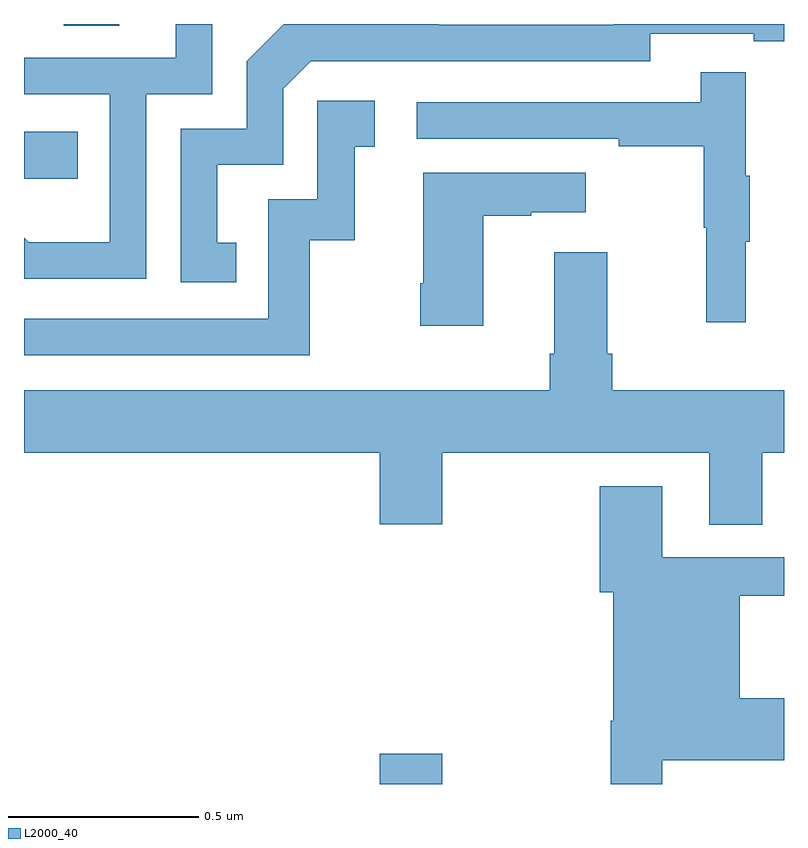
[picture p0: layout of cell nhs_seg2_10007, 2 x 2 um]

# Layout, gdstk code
import gdstk
lib = gdstk.Library(unit=1e-6, precision=1e-09)
def R(c, l, rs):  # rectangles x0, y0, x1, y1
    for r in rs: c.add(gdstk.rectangle(r[:2], r[2:], *l))
def P(c, l, *ps):  # polygons
    for p in ps: c.add(gdstk.Polygon(p, *l))
L2000_40 = (2000, 40)

nhs_seg2_10007 = lib.new_cell('nhs_seg2_10007')
R(nhs_seg2_10007, L2000_40, [(236.936,610.8,237.1,610.879), (236.104,612.796,236.251,612.8)])
P(nhs_seg2_10007, L2000_40, [(236.558,612.225),(236.509,612.225),(236.509,612.429),(236.682,612.429),(236.682,612.63),(236.754,612.702),(237.648,612.702),(237.648,612.774),(237.92,612.774),(237.92,612.754),(238,612.754),(238,612.8),(237.552,612.8),(237.552,612.798),(237.092,612.798),(237.092,612.8),(236.684,612.8),(236.586,612.702),(236.586,612.525),(236.412,612.525),(236.412,612.12),(236.558,612.12)],
  [(236.322,612.615),(236.496,612.615),(236.496,612.8),(236.399,612.8),(236.399,612.711),(236,612.711),(236,612.615),(236.226,612.615),(236.226,612.226),(236.012,612.226),(236,612.238),(236,612.129),(236.322,612.129)],
  [(237.899,612.227),(237.91,612.227),(237.91,612.401),(237.899,612.401),(237.899,612.673),(237.781,612.673),(237.781,612.594),(237.033,612.594),(237.033,612.498),(237.565,612.498),(237.565,612.478),(237.789,612.478),(237.789,612.264),(237.796,612.264),(237.796,612.015),(237.899,612.015)],
  [(236.752,612.231),(236.87,612.231),(236.87,612.477),(236.923,612.477),(236.923,612.598),(236.772,612.598),(236.772,612.339),(236.643,612.339),(236.643,612.024),(236,612.024),(236,611.928),(236.752,611.928)],
  [(236.141,612.516),(236,612.516),(236,612.42),(236.001,612.42),(236.001,612.393),(236.141,612.393)],
  [(237.208,612.295),(237.335,612.295),(237.335,612.305),(237.478,612.305),(237.478,612.409),(237.05,612.409),(237.05,612.118),(237.043,612.118),(237.043,612.006),(237.208,612.006)],
  [(236,611.672),(236.936,611.672),(236.936,611.484),(237.1,611.484),(237.1,611.672),(237.803,611.672),(237.803,611.482),(237.943,611.482),(237.943,611.672),(238,611.672),(238,611.836),(237.548,611.836),(237.548,611.932),(237.535,611.932),(237.535,612.199),(237.395,612.199),(237.395,611.932),(237.383,611.932),(237.383,611.836),(236,611.836)],
  [(237.679,610.862),(238,610.862),(238,611.026),(237.883,611.026),(237.883,611.296),(238,611.296),(238,611.397),(237.679,611.397),(237.679,611.584),(237.515,611.584),(237.515,611.304),(237.551,611.304),(237.551,610.966),(237.544,610.966),(237.544,610.8),(237.679,610.8)])

lib.write_gds('nhs_seg2_10007.gds')
